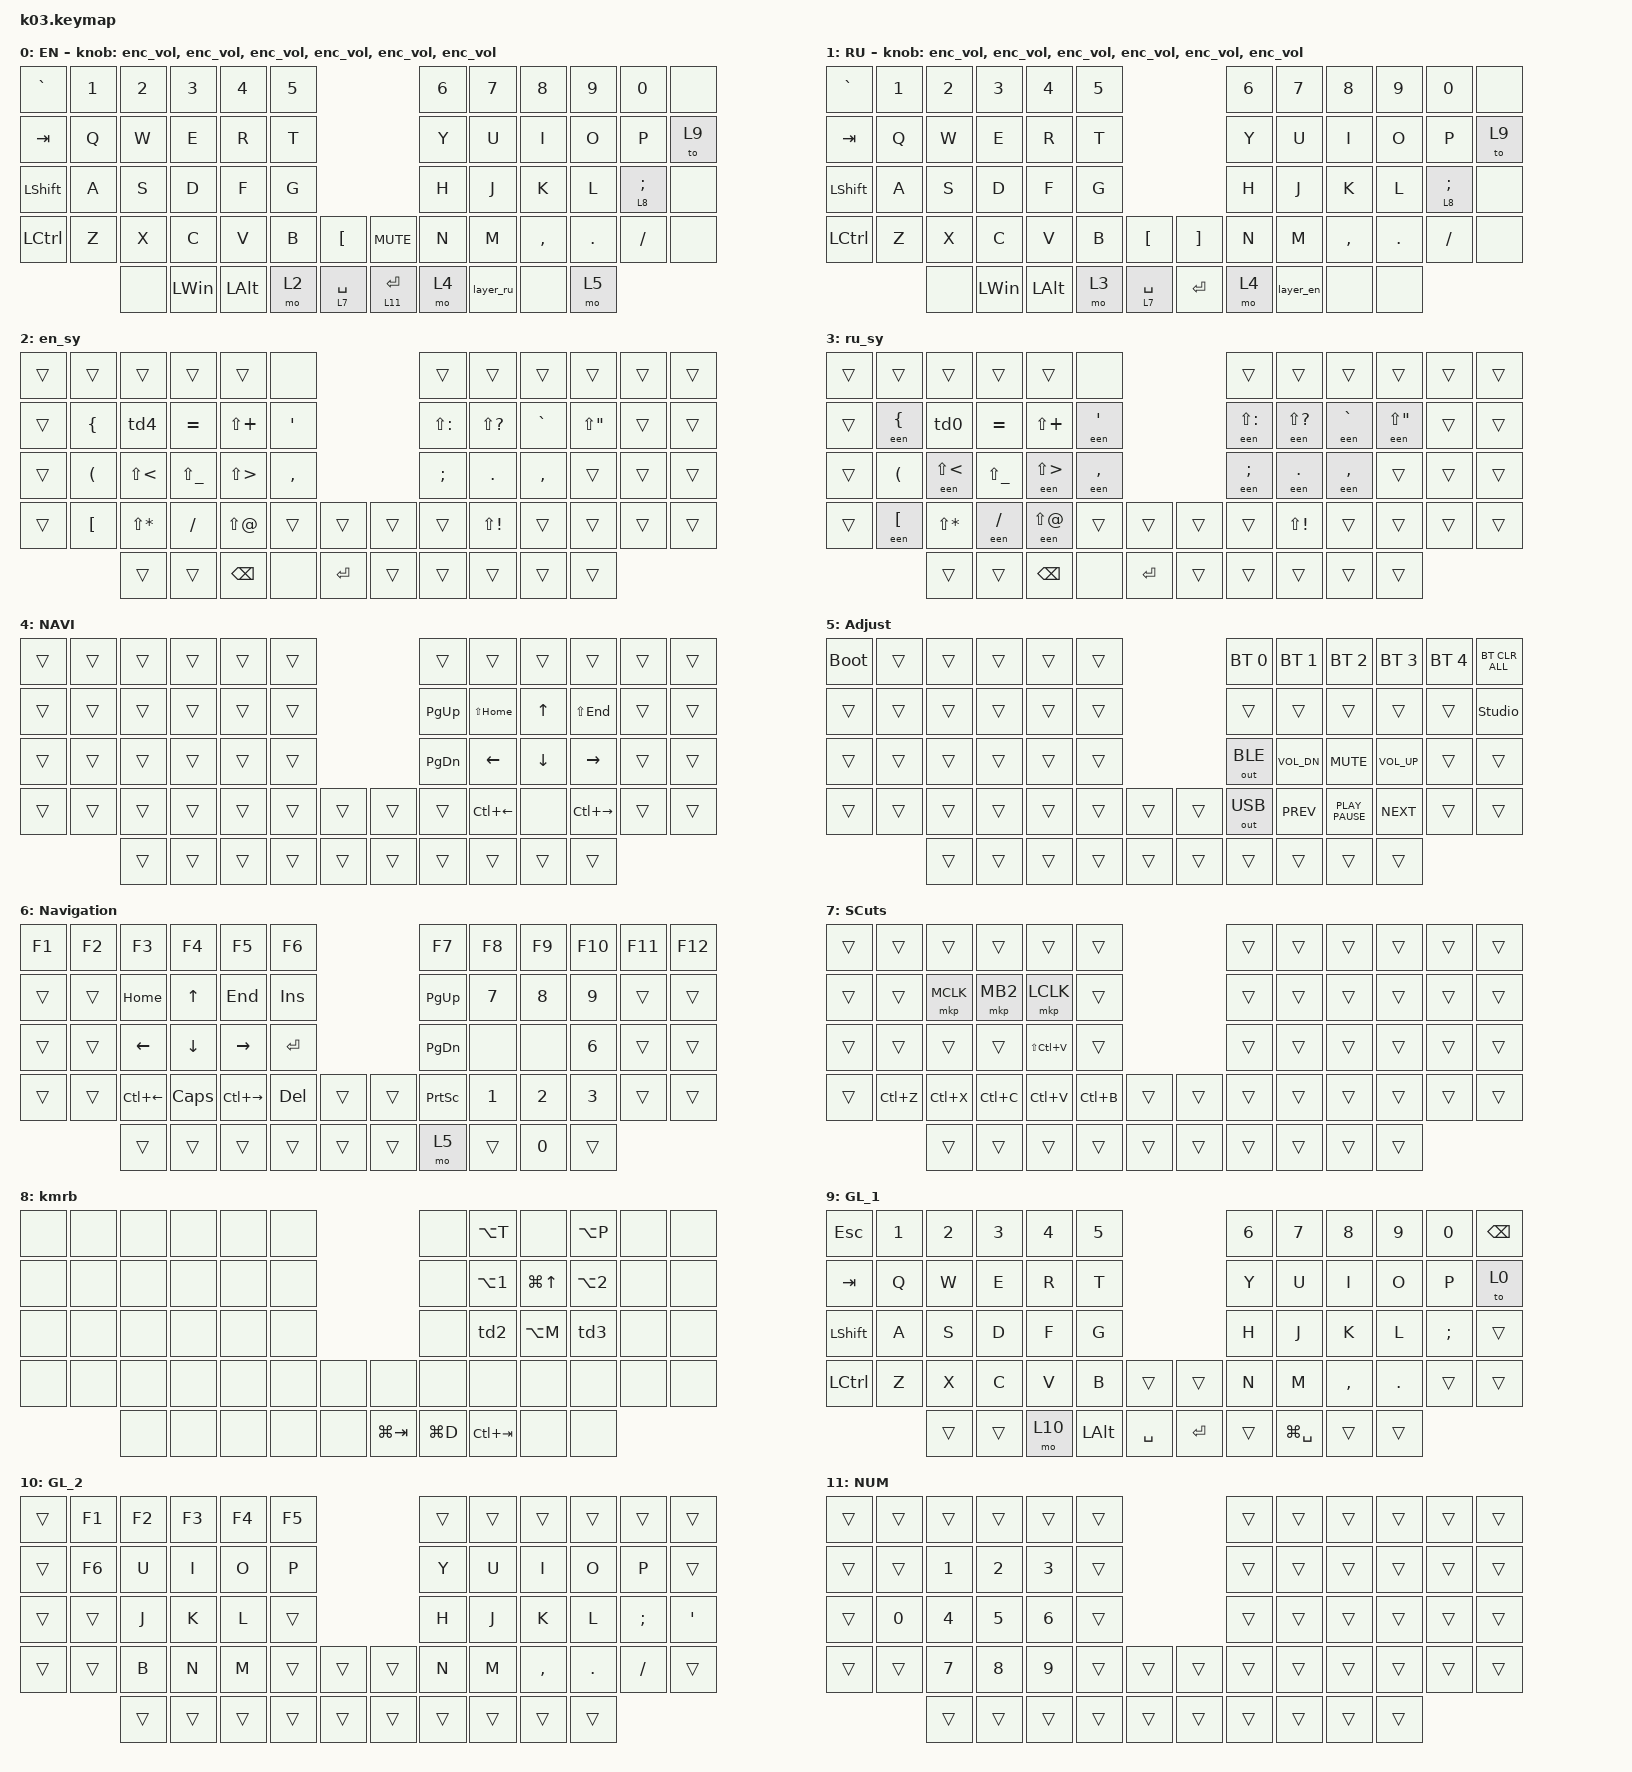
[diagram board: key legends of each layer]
#include "keys_ru.h"
#include <behaviors.dtsi>
#include <dt-bindings/zmk/bt.h>
#include <dt-bindings/zmk/keys.h>
#include <dt-bindings/zmk/outputs.h>
#include <dt-bindings/zmk/pointing.h>

/ {
    behaviors {
        enc_vol: enc_vol {
            compatible = "zmk,behavior-sensor-rotate";
            label = "ENC_VOL";
            #sensor-binding-cells = <0>;
            bindings = <&kp C_VOL_UP>, <&kp C_VOL_DN>;
        };

        td0: td0 {
            compatible = "zmk,behavior-tap-dance";
            label = "TD0";
            #binding-cells = <0>;
            bindings = <&kp MINUS>, <&slash>;

            tapping-term-ms = <300>;
        };

        td2: td2 {
            compatible = "zmk,behavior-tap-dance";
            label = "TD2";
            #binding-cells = <0>;
            tapping-term-ms = <300>;
            bindings = <&kp LS(LA(LEFT_BRACKET))>, <&kp LS(LA(H))>;
        };

        td3: td3 {
            compatible = "zmk,behavior-tap-dance";
            label = "TD3";
            #binding-cells = <0>;
            bindings = <&kp LS(LA(RIGHT_BRACKET))>, <&kp LS(LA(L))>;

            tapping-term-ms = <300>;
        };

        td4: td4 {
            compatible = "zmk,behavior-tap-dance";
            label = "TD4";
            #binding-cells = <0>;
            bindings = <&kp MINUS>, <&kp LC(SLASH)>;

            tapping-term-ms = <300>;
        };
    };

    macros {
        en_dot: en_dot {
            compatible = "zmk,behavior-macro";
            #binding-cells = <0>;
            bindings = <&kp LS(LEFT_ALT)>, <&macro_wait_time 25>, <&kp DOT>;

            label = "EN_DOT";
        };

        to_ru: to_ru {
            compatible = "zmk,behavior-macro";
            #binding-cells = <0>;
            bindings = <&kp LS(LC(N8))>;
            label = "TO_RU";
        };

        to_en: to_en {
            compatible = "zmk,behavior-macro";
            #binding-cells = <0>;
            bindings = <&kp LS(LC(N9))>;
            label = "TO_EN";
        };

        layer_en: layer_en {
            compatible = "zmk,behavior-macro";
            #binding-cells = <0>;
            bindings = <&to 0 &to_en>;
            label = "LAYER_EN";
        };

        layer_ru: layer_ru {
            compatible = "zmk,behavior-macro";
            #binding-cells = <0>;
            bindings = <&to 1 &to_ru>;
            label = "LAYER_RU";
        };

        een: en {
            compatible = "zmk,behavior-macro-one-param";
            #binding-cells = <1>;
            bindings =
                <&to_en &macro_param_1to1 &kp MACRO_PLACEHOLDER>,
                <&macro_wait_time 10>,
                <&to_ru>,
                <&macro_wait_time 10>;

            label = "EN";
        };

        slash: slash {
            compatible = "zmk,behavior-macro";
            #binding-cells = <0>;
            bindings =
                <&to_en>,
                <&macro_wait_time 10>,
                <&kp LC(FSLH)>,
                <&macro_wait_time 10>,
                <&to_ru>;

            label = "SLASH";
        };
    };

    combos {
        compatible = "zmk,combos";

        ent {
            bindings = <&kp ENTER>;
            key-positions = <31 32>;
            layers = <4>;
        };

        bspac {
            bindings = <&kp BACKSPACE>;
            key-positions = <32 33>;
            layers = <4>;
        };

        del {
            bindings = <&kp DELETE>;
            key-positions = <46 47>;
            layers = <4>;
        };

        all {
            bindings = <&kp LC(A)>;
            key-positions = <25 26>;
            layers = <2 3>;
        };

        x {
            bindings = <&kp LEFT_BRACKET>;
            key-positions = <40 41>;
            layers = <0 1>;
        };

        left_br {
            bindings = <&kp RIGHT_BRACKET>;
            key-positions = <44 45>;
            layers = <0 1>;
        };

        e {
            bindings = <&kp SQT>;
            key-positions = <20 21>;
            layers = <0 1>;
        };

        esc {
            bindings = <&kp ESC>;
            key-positions = <13 14>;
            layers = <2 3>;
        };

        flow {
            bindings = <&kp LS(LA(LC(LG(F))))>;
            key-positions = <29 28>;
            layers = <2 3>;
        };

        ctrT {
            bindings = <&kp LC(T)>;
            key-positions = <17 16>;
            layers = <2 3>;
        };

        buffer {
            bindings = <&kp LA(LC(LG(T)))>;
            key-positions = <39 40>;
            layers = <2 3>;
        };

        compact {
            bindings = <&kp LA(LC(C))>;
            key-positions = <37 38>;
            layers = <2 3>;
        };
    };

    keymap {
        compatible = "zmk,keymap";

        EN {
            bindings = <
&kp GRAVE         &kp N1  &kp N2  &kp N3        &kp N4        &kp N5                               &kp N6  &kp N7     &kp N8     &kp N9   &kp N0      &none
&kp TAB           &kp Q   &kp W   &kp E         &kp R         &kp T                                &kp Y   &kp U      &kp I      &kp O    &kp P       &to 9
&kp LEFT_SHIFT    &kp A   &kp S   &kp D         &kp F         &kp G                                &kp H   &kp J      &kp K      &kp L    &lt 8 SEMI  &none
&kp LEFT_CONTROL  &kp Z   &kp X   &kp C         &kp V         &kp B   &kp LBKT       &kp C_MUTE    &kp N   &kp M      &kp COMMA  &kp DOT  &kp FSLH    &none
                          &none   &kp LEFT_WIN  &kp LEFT_ALT  &mo 2   &lt 7 SPACE    &lt 11 ENTER  &mo 4   &layer_ru  &none      &mo 5
            >;

            display-name = "EN";
            sensor-bindings =
                <&enc_vol>,
                <&enc_vol>,
                <&enc_vol>,
                <&enc_vol>,
                <&enc_vol>,
                <&enc_vol>;

            label = "EN";
        };

        RU {
            display-name = "RU";
            bindings = <
&kp GRAVE   &kp N1  &kp N2  &kp N3        &kp N4        &kp N5                            &kp N6  &kp N7     &kp N8     &kp N9   &kp N0      &none
&kp TAB     &kp Q   &kp W   &kp E         &kp R         &kp T                             &kp Y   &kp U      &kp I      &kp O    &kp P       &to 9
&kp LSHIFT  &kp A   &kp S   &kp D         &kp F         &kp G                             &kp H   &kp J      &kp K      &kp L    &lt 8 SEMI  &none
&kp LCTRL   &kp Z   &kp X   &kp C         &kp V         &kp B   &kp LBKT       &kp RBKT   &kp N   &kp M      &kp COMMA  &kp DOT  &kp FSLH    &none
                    &none   &kp LEFT_WIN  &kp LEFT_ALT  &mo 3   &lt 7 SPACE    &kp ENTER  &mo 4   &layer_en  &none      &none
            >;

            sensor-bindings =
                <&enc_vol>,
                <&enc_vol>,
                <&enc_vol>,
                <&enc_vol>,
                <&enc_vol>,
                <&enc_vol>;

            label = "RU";
        };

        en_sy {
            bindings = <
&trans  &trans                &trans        &trans         &trans        &none                         &trans         &trans         &trans     &trans       &trans  &trans
&trans  &kp LEFT_BRACE        &td4          &kp EQUAL      &kp LS(PLUS)  &kp SQT                       &kp LS(COLON)  &kp LS(QMARK)  &kp GRAVE  &kp LS(DQT)  &trans  &trans
&trans  &kp LEFT_PARENTHESIS  &kp LS(LT)    &kp LS(UNDER)  &kp LS(GT)    &kp COMMA                     &kp SEMI       &kp DOT        &kp COMMA  &trans       &trans  &trans
&trans  &kp LEFT_BRACKET      &kp LS(STAR)  &kp FSLH       &kp LS(AT)    &trans     &trans     &trans  &trans         &kp LS(EXCL)   &trans     &trans       &trans  &trans
                              &trans        &trans         &kp BSPC      &none      &kp RET    &trans  &trans         &trans         &trans     &trans
            >;

            label = "en_sy";
        };

        ru_sy {
            bindings = <
&trans  &trans             &trans        &trans         &trans        &none                          &trans          &trans          &trans      &trans        &trans  &trans
&trans  &een LEFT_BRACE    &td0          &kp EQUAL      &kp LS(PLUS)  &een SQT                       &een LS(COLON)  &een LS(QMARK)  &een GRAVE  &een LS(DQT)  &trans  &trans
&trans  &kp LPAR           &een LS(LT)   &kp LS(UNDER)  &een LS(GT)   &een COMMA                     &een SEMI       &een DOT        &een COMMA  &trans        &trans  &trans
&trans  &een LEFT_BRACKET  &kp LS(STAR)  &een FSLH      &een LS(AT)   &trans      &trans     &trans  &trans          &kp LS(EXCL)    &trans      &trans        &trans  &trans
                           &trans        &trans         &kp BSPC      &none       &kp RET    &trans  &trans          &trans          &trans      &trans
            >;

            label = "ru_sy";
        };

        NAVI {
            bindings = <
&trans  &trans  &trans  &trans  &trans  &trans                    &trans     &trans        &trans    &trans         &trans  &trans
&trans  &trans  &trans  &trans  &trans  &trans                    &kp PG_UP  &kp LS(HOME)  &kp UP    &kp LS(END)    &trans  &trans
&trans  &trans  &trans  &trans  &trans  &trans                    &kp PG_DN  &kp LEFT      &kp DOWN  &kp RIGHT      &trans  &trans
&trans  &trans  &trans  &trans  &trans  &trans  &trans    &trans  &trans     &kp LC(LEFT)  &none     &kp LC(RIGHT)  &trans  &trans
                &trans  &trans  &trans  &trans  &trans    &trans  &trans     &trans        &trans    &trans
            >;

            label = "NAVI";
        };

        adj {
            bindings = <
&bootloader  &trans  &trans  &trans  &trans  &trans                    &bt BT_SEL 0  &bt BT_SEL 1  &bt BT_SEL 2      &bt BT_SEL 3  &bt BT_SEL 4  &bt BT_CLR_ALL
&trans       &trans  &trans  &trans  &trans  &trans                    &trans        &trans        &trans            &trans        &trans        &studio_unlock
&trans       &trans  &trans  &trans  &trans  &trans                    &out OUT_BLE  &kp C_VOL_DN  &kp K_MUTE        &kp C_VOL_UP  &trans        &trans
&trans       &trans  &trans  &trans  &trans  &trans  &trans    &trans  &out OUT_USB  &kp K_PREV    &kp K_PLAY_PAUSE  &kp K_NEXT    &trans        &trans
                     &trans  &trans  &trans  &trans  &trans    &trans  &trans        &trans        &trans            &trans
            >;

            display-name = "Adjust";
        };

        nav {
            bindings = <
&kp F1  &kp F2  &kp F3        &kp F4    &kp F5         &kp F6                     &kp F7           &kp F8  &kp F9  &kp F10  &kp F11  &kp F12
&trans  &trans  &kp HOME      &kp UP    &kp END        &kp INS                    &kp PG_UP        &kp N7  &kp N8  &kp N9   &trans   &trans
&trans  &trans  &kp LEFT      &kp DOWN  &kp RIGHT      &kp RET                    &kp PG_DN        &none   &none   &kp N6   &trans   &trans
&trans  &trans  &kp LC(LEFT)  &kp CAPS  &kp LC(RIGHT)  &kp DEL  &trans    &trans  &kp PRINTSCREEN  &kp N1  &kp N2  &kp N3   &trans   &trans
                &trans        &trans    &trans         &trans   &trans    &trans  &mo 5            &trans  &kp N0  &trans
            >;

            display-name = "Navigation";
        };

        SCuts {
            bindings = <
&trans  &trans     &trans     &trans     &trans         &trans                       &trans  &trans  &trans  &trans  &trans  &trans
&trans  &trans     &mkp MCLK  &mkp MB2   &mkp LCLK      &trans                       &trans  &trans  &trans  &trans  &trans  &trans
&trans  &trans     &trans     &trans     &kp LS(LC(V))  &trans                       &trans  &trans  &trans  &trans  &trans  &trans
&trans  &kp LC(Z)  &kp LC(X)  &kp LC(C)  &kp LC(V)      &kp LC(B)  &trans    &trans  &trans  &trans  &trans  &trans  &trans  &trans
                   &trans     &trans     &trans         &trans     &trans    &trans  &trans  &trans  &trans  &trans
            >;

            label = "SCuts";
        };

        kmrb {
            bindings = <
&none  &none  &none  &none  &none  &none                        &none      &kp LA(T)    &none       &kp LA(P)   &none  &none
&none  &none  &none  &none  &none  &none                        &none      &kp LA(N1)   &kp LG(UP)  &kp LA(N2)  &none  &none
&none  &none  &none  &none  &none  &none                        &none      &td2         &kp LA(M)   &td3        &none  &none
&none  &none  &none  &none  &none  &none  &none    &none        &none      &none        &none       &none       &none  &none
              &none  &none  &none  &none  &none    &kp LG(TAB)  &kp LG(D)  &kp LC(TAB)  &none       &none
            >;

            label = "kmrb";
        };

        GL_1 {
            bindings = <
&kp ESC    &kp N1  &kp N2  &kp N3  &kp N4  &kp N5                            &kp N6  &kp N7         &kp N8     &kp N9   &kp N0    &kp BSPC
&kp TAB    &kp Q   &kp W   &kp E   &kp R   &kp T                             &kp Y   &kp U          &kp I      &kp O    &kp P     &to 0
&kp LSHFT  &kp A   &kp S   &kp D   &kp F   &kp G                             &kp H   &kp J          &kp K      &kp L    &kp SEMI  &trans
&kp LCTRL  &kp Z   &kp X   &kp C   &kp V   &kp B     &trans       &trans     &kp N   &kp M          &kp COMMA  &kp DOT  &trans    &trans
                   &trans  &trans  &mo 10  &kp LALT  &kp SPACE    &kp ENTER  &trans  &kp LG(SPACE)  &trans     &trans
            >;

            label = "GL_1";
        };

        GL_2 {
            bindings = <
&trans  &kp F1  &kp F2  &kp F3  &kp F4  &kp F5                    &trans  &trans  &trans     &trans   &trans    &trans
&trans  &kp F6  &kp U   &kp I   &kp O   &kp P                     &kp Y   &kp U   &kp I      &kp O    &kp P     &trans
&trans  &trans  &kp J   &kp K   &kp L   &trans                    &kp H   &kp J   &kp K      &kp L    &kp SEMI  &kp APOS
&trans  &trans  &kp B   &kp N   &kp M   &trans  &trans    &trans  &kp N   &kp M   &kp COMMA  &kp DOT  &kp FSLH  &trans
                &trans  &trans  &trans  &trans  &trans    &trans  &trans  &trans  &trans     &trans
            >;

            label = "GL_2";
        };

        NUM {
            bindings = <
&trans  &trans  &trans  &trans  &trans  &trans                    &trans  &trans  &trans  &trans  &trans  &trans
&trans  &trans  &kp N1  &kp N2  &kp N3  &trans                    &trans  &trans  &trans  &trans  &trans  &trans
&trans  &kp N0  &kp N4  &kp N5  &kp N6  &trans                    &trans  &trans  &trans  &trans  &trans  &trans
&trans  &trans  &kp N7  &kp N8  &kp N9  &trans  &trans    &trans  &trans  &trans  &trans  &trans  &trans  &trans
                &trans  &trans  &trans  &trans  &trans    &trans  &trans  &trans  &trans  &trans
            >;

            label = "NUM";
        };
    };
};
